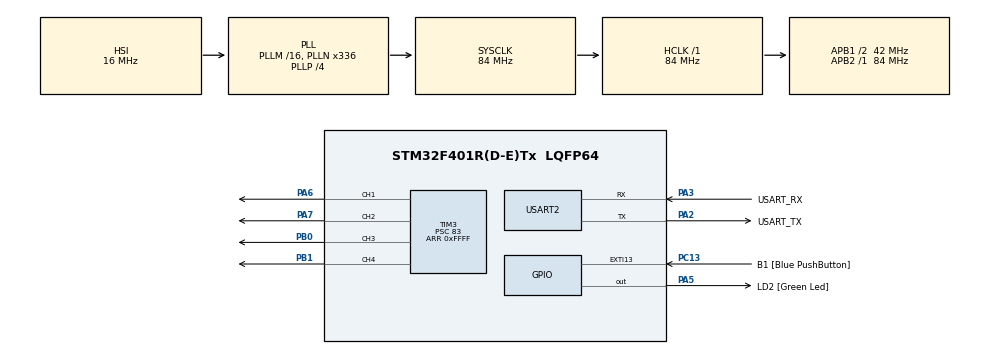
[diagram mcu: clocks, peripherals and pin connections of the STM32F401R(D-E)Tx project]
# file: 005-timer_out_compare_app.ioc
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Mcu.Family=STM32F4
Mcu.Name=STM32F401R(D-E)Tx
Mcu.Package=LQFP64
NVIC.PriorityGroup=NVIC_PRIORITYGROUP_0
NVIC.TIM3_IRQn=true\:0\:0\:false\:false\:true\:true\:true
PA13.GPIO_Label=TMS
PA13.Mode=Serial_Wire
PA13.Signal=SYS_JTMS-SWDIO
PA14.GPIO_Label=TCK
PA14.Mode=Serial_Wire
PA14.Signal=SYS_JTCK-SWCLK
PA2.GPIO_Label=USART_TX
PA2.GPIO_Mode=GPIO_MODE_AF_PP
PA2.GPIO_PuPd=GPIO_NOPULL
PA2.GPIO_Speed=GPIO_SPEED_FREQ_LOW
PA2.Mode=Asynchronous
PA2.Signal=USART2_TX
PA3.GPIO_Label=USART_RX
PA3.GPIO_Mode=GPIO_MODE_AF_PP
PA3.GPIO_PuPd=GPIO_NOPULL
PA3.GPIO_Speed=GPIO_SPEED_FREQ_LOW
PA3.Mode=Asynchronous
PA3.Signal=USART2_RX
PA5.GPIO_Label=LD2 [Green Led]
PA5.GPIO_Mode=GPIO_MODE_OUTPUT_PP
PA5.GPIO_PuPd=GPIO_NOPULL
PA5.GPIO_Speed=GPIO_SPEED_FREQ_LOW
PA5.Signal=GPIO_Output
PA6.Signal=S_TIM3_CH1
PA7.Signal=S_TIM3_CH2
PB0.Signal=S_TIM3_CH3
PB1.Signal=S_TIM3_CH4
PB3.GPIO_Label=SWO
PB3.Signal=SYS_JTDO-SWO
PC13-ANTI_TAMP.GPIO_Label=B1 [Blue PushButton]
PC13-ANTI_TAMP.GPIO_ModeDefaultEXTI=GPIO_MODE_IT_FALLING
PC13-ANTI_TAMP.GPIO_PuPd=GPIO_NOPULL
PC13-ANTI_TAMP.Signal=GPXTI13
PC14-OSC32_IN.Mode=LSE-External-Oscillator
PC14-OSC32_IN.Signal=RCC_OSC32_IN
PC15-OSC32_OUT.Mode=LSE-External-Oscillator
PC15-OSC32_OUT.Signal=RCC_OSC32_OUT
PH0\ -\ OSC_IN.Mode=HSE-External-Clock-Source
PH0\ -\ OSC_IN.Signal=RCC_OSC_IN
PH1\ -\ OSC_OUT.Mode=HSE-External-Clock-Source
PH1\ -\ OSC_OUT.Signal=RCC_OSC_OUT
ProjectManager.HeapSize=0x200
ProjectManager.StackSize=0x400
ProjectManager.TargetToolchain=STM32CubeIDE
RCC.48MHZClocksFreq_Value=48000000
RCC.AHBFreq_Value=84000000
RCC.APB1CLKDivider=RCC_HCLK_DIV2
RCC.APB1Freq_Value=42000000
RCC.APB1TimFreq_Value=84000000
RCC.APB2Freq_Value=84000000
RCC.APB2TimFreq_Value=84000000
RCC.CortexFreq_Value=84000000
RCC.HCLKFreq_Value=84000000
RCC.HSE_VALUE=8000000
RCC.HSI_VALUE=16000000
RCC.PLLN=336
RCC.PLLP=RCC_PLLP_DIV4
RCC.PLLQ=7
RCC.SYSCLKFreq_VALUE=84000000
RCC.SYSCLKSource=RCC_SYSCLKSOURCE_PLLCLK
RCC.VCOOutputFreq_Value=336000000
SH.S_TIM3_CH1.0=TIM3_CH1,Output Compare1 CH1
SH.S_TIM3_CH2.0=TIM3_CH2,Output Compare2 CH2
SH.S_TIM3_CH3.0=TIM3_CH3,Output Compare3 CH3
SH.S_TIM3_CH4.0=TIM3_CH4,Output Compare4 CH4
TIM3.Channel-Output\ Compare1\ CH1=TIM_CHANNEL_1
TIM3.Channel-Output\ Compare2\ CH2=TIM_CHANNEL_2
TIM3.Channel-Output\ Compare3\ CH3=TIM_CHANNEL_3
TIM3.Channel-Output\ Compare4\ CH4=TIM_CHANNEL_4
TIM3.OCMode_1=TIM_OCMODE_TOGGLE
TIM3.OCMode_2=TIM_OCMODE_TOGGLE
TIM3.OCMode_3=TIM_OCMODE_TOGGLE
TIM3.OCMode_4=TIM_OCMODE_TOGGLE
TIM3.Period=0xFFFF
TIM3.Prescaler=83
TIM3.Pulse-Output\ Compare1\ CH1=2000
TIM3.Pulse-Output\ Compare2\ CH2=1000
TIM3.Pulse-Output\ Compare3\ CH3=500
TIM3.Pulse-Output\ Compare4\ CH4=250
USART2.VirtualMode=VM_ASYNC
board=NUCLEO-F401RE

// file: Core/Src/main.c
/* USER CODE BEGIN Header */
/**
  ******************************************************************************
  * @file           : main.c
  * @brief          : Main program body
  ******************************************************************************
  * @attention
  *
  * <h2><center>&copy; Copyright (c) 2020 STMicroelectronics.
  * All rights reserved.</center></h2>
  *
  * This software component is licensed by ST under BSD 3-Clause license,
  * the "License"; You may not use this file except in compliance with the
  * License. You may obtain a copy of the License at:
  *                        opensource.org/licenses/BSD-3-Clause
  *
  ******************************************************************************
  */
/* USER CODE END Header */

#include "main.h"

TIM_HandleTypeDef htim3;

UART_HandleTypeDef huart2;

/* USER CODE BEGIN PV */

volatile uint16_t usr_ccr[4] = {2000, 1000, 500, 250};

/* USER CODE END PV */

void SystemClock_Config(void);
static void MX_GPIO_Init(void);
static void MX_USART2_UART_Init(void);
static void MX_TIM3_Init(void);

int main(void)
{

  /* MCU Configuration--------------------------------------------------------*/

  /* Reset of all peripherals, Initializes the Flash interface and the Systick. */
  HAL_Init();

  /* Configure the system clock */
  SystemClock_Config();

  /* Initialize all configured peripherals */
  MX_GPIO_Init();
  MX_USART2_UART_Init();
  MX_TIM3_Init();
  /* USER CODE BEGIN 2 */
  HAL_TIM_OC_Start_IT(&htim3, TIM_CHANNEL_1);
  HAL_TIM_OC_Start_IT(&htim3, TIM_CHANNEL_2);
  HAL_TIM_OC_Start_IT(&htim3, TIM_CHANNEL_3);
  HAL_TIM_OC_Start_IT(&htim3, TIM_CHANNEL_4);

  /* USER CODE END 2 */

  /* Infinite loop */
  while (1)
  {

  }
}

void SystemClock_Config(void)
{
  RCC_OscInitTypeDef RCC_OscInitStruct = {0};
  RCC_ClkInitTypeDef RCC_ClkInitStruct = {0};

  /** Configure the main internal regulator output voltage
  */
  __HAL_RCC_PWR_CLK_ENABLE();
  __HAL_PWR_VOLTAGESCALING_CONFIG(PWR_REGULATOR_VOLTAGE_SCALE2);
  /** Initializes the CPU, AHB and APB busses clocks
  */
  RCC_OscInitStruct.OscillatorType = RCC_OSCILLATORTYPE_HSI;
  RCC_OscInitStruct.HSIState = RCC_HSI_ON;
  RCC_OscInitStruct.HSICalibrationValue = RCC_HSICALIBRATION_DEFAULT;
  RCC_OscInitStruct.PLL.PLLState = RCC_PLL_ON;
  RCC_OscInitStruct.PLL.PLLSource = RCC_PLLSOURCE_HSI;
  RCC_OscInitStruct.PLL.PLLM = 16;
  RCC_OscInitStruct.PLL.PLLN = 336;
  RCC_OscInitStruct.PLL.PLLP = RCC_PLLP_DIV4;
  RCC_OscInitStruct.PLL.PLLQ = 7;
  if (HAL_RCC_OscConfig(&RCC_OscInitStruct) != HAL_OK)
  {
    Error_Handler();
  }
  /** Initializes the CPU, AHB and APB busses clocks
  */
  RCC_ClkInitStruct.ClockType = RCC_CLOCKTYPE_HCLK|RCC_CLOCKTYPE_SYSCLK
                              |RCC_CLOCKTYPE_PCLK1|RCC_CLOCKTYPE_PCLK2;
  RCC_ClkInitStruct.SYSCLKSource = RCC_SYSCLKSOURCE_PLLCLK;
  RCC_ClkInitStruct.AHBCLKDivider = RCC_SYSCLK_DIV1;
  RCC_ClkInitStruct.APB1CLKDivider = RCC_HCLK_DIV2;
  RCC_ClkInitStruct.APB2CLKDivider = RCC_HCLK_DIV1;

  if (HAL_RCC_ClockConfig(&RCC_ClkInitStruct, FLASH_LATENCY_2) != HAL_OK)
  {
    Error_Handler();
  }
}

static void MX_TIM3_Init(void)
{

  TIM_MasterConfigTypeDef sMasterConfig = {0};
  TIM_OC_InitTypeDef sConfigOC = {0};

  htim3.Instance = TIM3;
  htim3.Init.Prescaler = 41;
  htim3.Init.CounterMode = TIM_COUNTERMODE_UP;
  htim3.Init.Period = 0xFFFF;
  htim3.Init.ClockDivision = TIM_CLOCKDIVISION_DIV1;
  htim3.Init.AutoReloadPreload = TIM_AUTORELOAD_PRELOAD_DISABLE;
  if (HAL_TIM_OC_Init(&htim3) != HAL_OK)
  {
    Error_Handler();
  }
  sMasterConfig.MasterOutputTrigger = TIM_TRGO_RESET;
  sMasterConfig.MasterSlaveMode = TIM_MASTERSLAVEMODE_DISABLE;
  if (HAL_TIMEx_MasterConfigSynchronization(&htim3, &sMasterConfig) != HAL_OK)
  {
    Error_Handler();
  }
  sConfigOC.OCMode = TIM_OCMODE_TOGGLE;
  sConfigOC.Pulse = 2000;
  sConfigOC.OCPolarity = TIM_OCPOLARITY_HIGH;
  sConfigOC.OCFastMode = TIM_OCFAST_DISABLE;
  if (HAL_TIM_OC_ConfigChannel(&htim3, &sConfigOC, TIM_CHANNEL_1) != HAL_OK)
  {
    Error_Handler();
  }
  sConfigOC.Pulse = 1000;
  if (HAL_TIM_OC_ConfigChannel(&htim3, &sConfigOC, TIM_CHANNEL_2) != HAL_OK)
  {
    Error_Handler();
  }
  sConfigOC.Pulse = 500;
  if (HAL_TIM_OC_ConfigChannel(&htim3, &sConfigOC, TIM_CHANNEL_3) != HAL_OK)
  {
    Error_Handler();
  }
  sConfigOC.Pulse = 250;
  if (HAL_TIM_OC_ConfigChannel(&htim3, &sConfigOC, TIM_CHANNEL_4) != HAL_OK)
  {
    Error_Handler();
  }
  HAL_TIM_MspPostInit(&htim3);

}

static void MX_USART2_UART_Init(void)
{

  huart2.Instance = USART2;
  huart2.Init.BaudRate = 115200;
  huart2.Init.WordLength = UART_WORDLENGTH_8B;
  huart2.Init.StopBits = UART_STOPBITS_1;
  huart2.Init.Parity = UART_PARITY_NONE;
  huart2.Init.Mode = UART_MODE_TX_RX;
  huart2.Init.HwFlowCtl = UART_HWCONTROL_NONE;
  huart2.Init.OverSampling = UART_OVERSAMPLING_16;
  if (HAL_UART_Init(&huart2) != HAL_OK)
  {
    Error_Handler();
  }

}

static void MX_GPIO_Init(void)
{
  GPIO_InitTypeDef GPIO_InitStruct = {0};

  /* GPIO Ports Clock Enable */
  __HAL_RCC_GPIOC_CLK_ENABLE();
  __HAL_RCC_GPIOH_CLK_ENABLE();
  __HAL_RCC_GPIOA_CLK_ENABLE();
  __HAL_RCC_GPIOB_CLK_ENABLE();

  /*Configure GPIO pin Output Level */
  HAL_GPIO_WritePin(LD2_GPIO_Port, LD2_Pin, GPIO_PIN_RESET);

  /*Configure GPIO pin : B1_Pin */
  GPIO_InitStruct.Pin = B1_Pin;
  GPIO_InitStruct.Mode = GPIO_MODE_IT_FALLING;
  GPIO_InitStruct.Pull = GPIO_NOPULL;
  HAL_GPIO_Init(B1_GPIO_Port, &GPIO_InitStruct);

  /*Configure GPIO pin : LD2_Pin */
  GPIO_InitStruct.Pin = LD2_Pin;
  GPIO_InitStruct.Mode = GPIO_MODE_OUTPUT_PP;
  GPIO_InitStruct.Pull = GPIO_NOPULL;
  GPIO_InitStruct.Speed = GPIO_SPEED_FREQ_LOW;
  HAL_GPIO_Init(LD2_GPIO_Port, &GPIO_InitStruct);

}

/* USER CODE BEGIN 4 */
void HAL_TIM_OC_DelayElapsedCallback(TIM_HandleTypeDef *htim){

	// Atualiza o CCR do canal referente
	switch (htim->Channel){
	case HAL_TIM_ACTIVE_CHANNEL_1:
		usr_ccr[0] += (2000-1);
		__HAL_TIM_SET_COMPARE(htim, TIM_CHANNEL_1, usr_ccr[0]);
		break;
	case HAL_TIM_ACTIVE_CHANNEL_2:
		usr_ccr[1] += (1000-1);
		__HAL_TIM_SET_COMPARE(htim, TIM_CHANNEL_2, usr_ccr[1]);
		break;
	case HAL_TIM_ACTIVE_CHANNEL_3:
		usr_ccr[2] += (500-1);
		__HAL_TIM_SET_COMPARE(htim, TIM_CHANNEL_3, usr_ccr[2]);
		break;
	case HAL_TIM_ACTIVE_CHANNEL_4:
		usr_ccr[3] += (250-1);
		__HAL_TIM_SET_COMPARE(htim, TIM_CHANNEL_4, usr_ccr[3]);
		break;
	default:
		break;
	}

}
/* USER CODE END 4 */

void Error_Handler(void)
{
}

/************************ (C) COPYRIGHT STMicroelectronics *****END OF FILE****/
